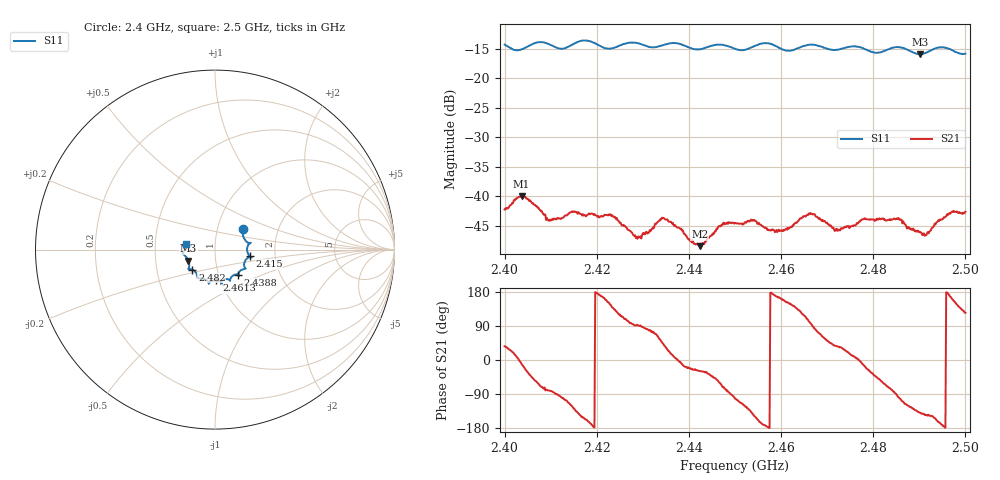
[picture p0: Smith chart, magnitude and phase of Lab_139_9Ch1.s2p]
# Hz S RI R 50
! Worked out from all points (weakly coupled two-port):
!   601 points, 2.4 GHz to 2.5 GHz, reference 50 ohm
!   highest |S21| = -39.93 dB at 2.4037 GHz (marker M1); lowest = -48.4 dB at 2.4423 GHz (marker M2)
!   lowest |S11| = -15.9 dB at 2.4902 GHz (marker M3), VSWR 1.38, Z = 36.8 - j4.65 ohm
!   |S11| at or under -10 dB: start of sweep to end of sweep
!   S12 and S22 are empty: the file has one direction only
!   S11 on the Smith chart (normalised r, x): 2.4 GHz: 1.33, +0.31; 2.415 GHz: 1.47, -0.11; 2.4388 GHz: 1.24, -0.36; 2.4613 GHz: 0.96, -0.34; 2.482 GHz: 0.76, -0.17; 2.5 GHz: 0.72, +0.05
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2.4e9  0.1574 0.1124  0.00626 0.00456  0 0  0 0
2.403667e9  0.168 0.0531  0.00992 -0.00178  0 0  0 0
2.4095e9  0.193 0.0347  0.00106 -0.00618  0 0  0 0
2.415e9  0.1929 -0.036  -0.00448 -0.00592  0 0  0 0
2.416667e9  0.204 -0.0437  -0.00613 -0.00354  0 0  0 0
2.423167e9  0.1629 -0.0747  -0.00543 0.00415  0 0  0 0
2.429e9  0.1676 -0.1067  -6.51e-05 0.00458  0 0  0 0
2.433333e9  0.1319 -0.1316  0.00297 0.00535  0 0  0 0
2.438833e9  0.1296 -0.1404  0.00474 -0.00128  0 0  0 0
2.442333e9  0.0961 -0.148  0.00331 -0.00185  0 0  0 0
2.447e9  0.0844 -0.1737  0.00245 -0.00516  0 0  0 0
2.45e9  0.0689 -0.1645  -0.00124 -0.00585  0 0  0 0
2.454e9  0.0345 -0.1829  -0.00511 -0.00357  0 0  0 0
2.456833e9  0.0386 -0.1951  -0.00539 -0.000481  0 0  0 0
2.461333e9  0.00789 -0.1713  -0.00463 0.00242  0 0  0 0
2.466667e9  -0.0347 -0.1902  -0.00037 0.00713  0 0  0 0
2.472e9  -0.066 -0.1616  0.00427 0.00319  0 0  0 0
2.482e9  -0.1262 -0.1117  0.00335 -0.00554  0 0  0 0
2.483333e9  -0.1397 -0.1088  0.0019 -0.00603  0 0  0 0
2.490167e9  -0.1482 -0.0615  -0.00375 -0.00324  0 0  0 0
2.494833e9  -0.1825 -0.0202  -0.0063 -0.00105  0 0  0 0
2.5e9  -0.1589 0.0328  -0.00421 0.00611  0 0  0 0
